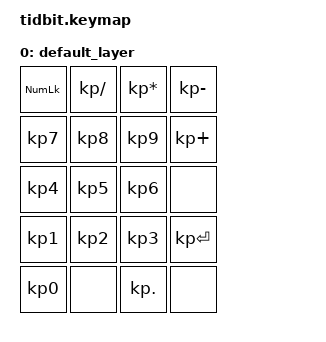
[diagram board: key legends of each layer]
/*
 * Copyright (c) 2020 The ZMK Contributors
 *
 * SPDX-License-Identifier: MIT
 */

#include <behaviors.dtsi>
#include <dt-bindings/zmk/bt.h>
#include <dt-bindings/zmk/outputs.h>
#include <dt-bindings/zmk/keys.h>

// &encoder_1_top_row {
// 	status = "okay";
// };

// / {
// 	sensors {
// 		compatible = "zmk,keymap-sensors";
// 		sensors = <&encoder_1_top_row>;
// 	};

// 	keymap {
// 		compatible = "zmk,keymap";

// 		default_layer {
// 			bindings = <
// 								&kp KP_NUMLOCK  &kp KP_ASTERISK &kp KP_MINUS
// 				&kp KP_NUMBER_7 &kp KP_NUMBER_8 &kp KP_NUMBER_9 &kp KP_PLUS
// 				&kp KP_NUMBER_4 &kp KP_NUMBER_5 &kp KP_NUMBER_6 &kp &none
// 				&kp KP_NUMBER_1 &kp KP_NUMBER_2 &kp KP_NUMBER_3 &lt 1 KP_ENTER
// 				&none           &kp KP_NUMBER_0 &kp KP_DOT      &none
// 			>;

// 			sensor-bindings = <&inc_dec_kp C_VOLUME_UP C_VOLUME_DOWN>;
// 		};

// 		 func_layer {
// 			 bindings = <
// 								&none           &reset          &bootloader
// 				&out OUT_TOG    &out OUT_USB    &out OUT_BLE    &none
// 				&bt BT_SEL 0    &bt BT_PRV      &bt BT_NXT      &bt BT_CLR
// 				&bt BT_SEL 1    &bt BT_SEL 2    &bt BT_SEL 3    &tog 0
// 				&kp C_MUTE      &none           &none           &none
// 			 >;

// 			 sensor-bindings = <&inc_dec_kp C_VOLUME_UP C_VOLUME_DOWN>;
// 		 };
// 	};
// };

/ {
  keymap {
    compatible = "zmk,keymap";

    default_layer {
      bindings = <
        &kp KP_NLCK &kp KP_DIVIDE &kp KP_MULTIPLY &kp KP_MINUS
        &kp KP_N7   &kp KP_N8     &kp KP_N9       &kp KP_PLUS
        &kp KP_N4   &kp KP_N5     &kp KP_N6       &none
        &kp KP_N1   &kp KP_N2     &kp KP_N3       &kp KP_ENTER
        &kp KP_N0   &none         &kp KP_DOT      &none
      >;
    };
  };
};
